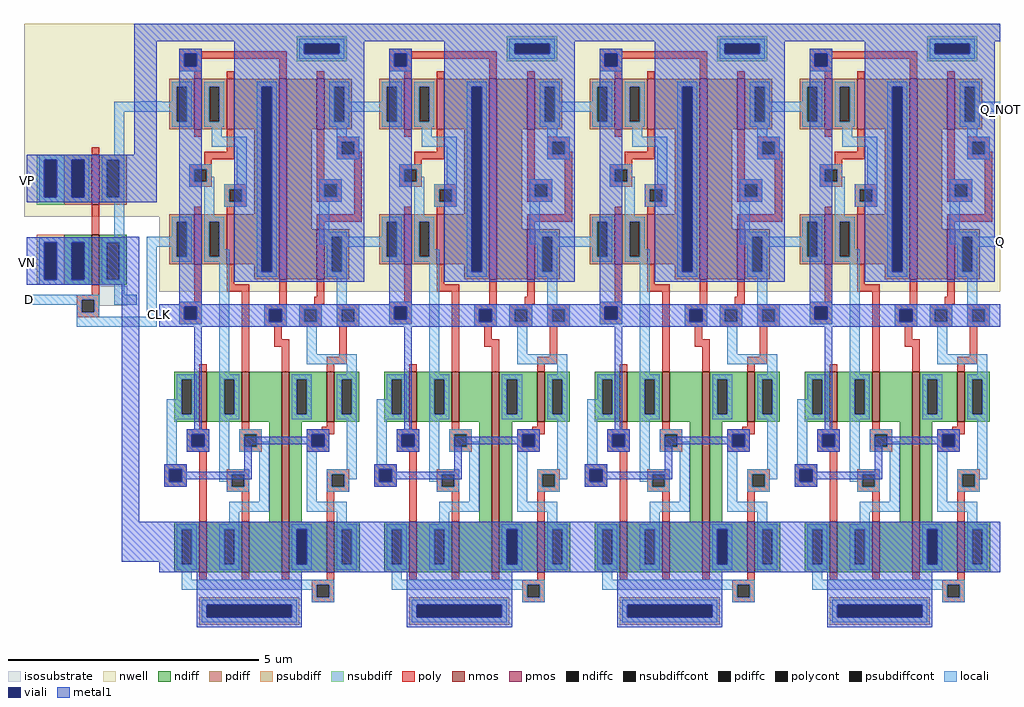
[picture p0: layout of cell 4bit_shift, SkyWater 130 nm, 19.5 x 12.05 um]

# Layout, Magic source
magic
tech sky130A
<< isosubstrate >>
rect -60 862 -4 902
<< nwell >>
rect -210 1040 65 1425
<< locali >>
rect 23 1270 65 1271
rect -30 1250 65 1270
rect -30 1160 -10 1250
rect 35 980 65 1000
rect -199 864 -160 884
rect 35 840 55 980
rect -105 820 55 840
<< metal1 >>
rect 10 1390 65 1425
rect 10 1164 55 1390
rect -204 1069 -195 1164
rect -16 1069 55 1164
rect -15 999 20 1000
rect -204 904 -195 999
rect -16 904 20 999
rect -15 430 20 904
rect -15 350 65 430
use inverte  inverte_0
transform 1 0 -95 0 1 869
box -110 -30 110 315
use mp2  mp2_0
transform 1 0 -635 0 1 -75
box 695 295 1115 1500
use mp2  mp2_1
transform 1 0 -215 0 1 -75
box 695 295 1115 1500
use mp2  mp2_2
transform 1 0 205 0 1 -75
box 695 295 1115 1500
use mp2  mp2_3
transform 1 0 625 0 1 -75
box 695 295 1115 1500
<< labels >>
rlabel space 60 845 60 845 7 CLK
port 10 w
rlabel metal1 -204 1112 -204 1112 1 VP
port 6 n
rlabel metal1 -204 949 -204 949 1 VN
port 5 n
rlabel locali -199 875 -199 875 3 D
port 1 e
rlabel space 1740 990 1740 990 3 Q
port 9 e
rlabel space 1740 1255 1740 1255 3 Q_NOT
port 8 e
<< end >>

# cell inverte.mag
magic
tech sky130A
<< nwell >>
rect -110 175 110 315
<< nmos >>
rect 20 35 35 135
<< pmos >>
rect 20 195 35 295
<< ndiff >>
rect -35 120 20 135
rect -35 45 -20 120
rect 5 45 20 120
rect -35 35 20 45
rect 35 120 90 135
rect 35 45 50 120
rect 75 45 90 120
rect 35 35 90 45
<< pdiff >>
rect -35 285 20 295
rect -35 210 -20 285
rect 5 210 20 285
rect -35 195 20 210
rect 35 285 90 295
rect 35 210 50 285
rect 75 210 90 285
rect 35 195 90 210
<< ndiffc >>
rect -20 45 5 120
rect 50 45 75 120
<< pdiffc >>
rect -20 210 5 285
rect 50 210 75 285
<< psubdiff >>
rect -90 120 -35 135
rect -90 45 -75 120
rect -50 45 -35 120
rect -90 35 -35 45
<< nsubdiff >>
rect -90 285 -35 295
rect -90 210 -75 285
rect -50 210 -35 285
rect -90 195 -35 210
<< psubdiffcont >>
rect -75 45 -50 120
<< nsubdiffcont >>
rect -75 210 -50 285
<< poly >>
rect 20 295 35 310
rect 20 135 35 195
rect 20 15 35 35
rect -10 5 35 15
rect -10 -20 0 5
rect 25 -20 35 5
rect -10 -30 35 -20
<< polycont >>
rect 0 -20 25 5
<< locali >>
rect -85 285 15 295
rect -85 210 -75 285
rect -50 210 -20 285
rect 5 210 15 285
rect -85 200 15 210
rect 40 285 85 295
rect 40 210 50 285
rect 75 210 85 285
rect 40 200 85 210
rect 65 130 85 200
rect -85 120 15 130
rect -85 45 -75 120
rect -50 45 -20 120
rect 5 45 15 120
rect -85 35 15 45
rect 40 120 85 130
rect 40 45 50 120
rect 75 45 85 120
rect 40 35 85 45
rect 65 15 85 35
rect -110 5 35 15
rect -110 -5 0 5
rect -10 -20 0 -5
rect 25 -20 35 5
rect 65 -5 110 15
rect -10 -30 35 -20
<< viali >>
rect -75 210 -50 285
rect -20 210 5 285
rect -75 45 -50 120
rect -20 45 5 120
<< metal1 >>
rect -110 285 110 295
rect -110 210 -75 285
rect -50 210 -20 285
rect 5 210 110 285
rect -110 200 110 210
rect -110 120 110 130
rect -110 45 -75 120
rect -50 45 -20 120
rect 5 45 110 120
rect -110 35 110 45
<< labels >>
rlabel locali 110 5 110 5 3 Y
port 2 e
rlabel locali -110 5 -110 5 7 A
port 1 w
rlabel metal1 -110 80 -110 80 7 VN
port 4 w
rlabel metal1 -110 245 -110 245 7 VP
port 3 w
<< end >>

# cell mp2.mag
magic
tech sky130A
<< nwell >>
rect 695 965 1115 1500
<< nmos >>
rect 775 705 790 805
rect 860 705 875 805
rect 775 405 790 505
rect 860 405 875 505
rect 940 405 955 805
rect 1030 705 1045 805
rect 1030 405 1045 505
<< pmos >>
rect 765 1290 780 1390
rect 830 1290 845 1390
rect 765 1020 780 1120
rect 830 1020 845 1120
rect 935 990 950 1390
rect 1010 1290 1025 1390
rect 1010 990 1025 1090
<< ndiff >>
rect 725 790 775 805
rect 725 720 740 790
rect 760 720 775 790
rect 725 705 775 720
rect 790 790 860 805
rect 790 720 825 790
rect 845 720 860 790
rect 790 705 860 720
rect 875 705 940 805
rect 915 505 940 705
rect 725 490 775 505
rect 725 420 740 490
rect 760 420 775 490
rect 725 405 775 420
rect 790 490 860 505
rect 790 420 825 490
rect 845 420 860 490
rect 790 405 860 420
rect 875 405 940 505
rect 955 790 1030 805
rect 955 720 970 790
rect 990 720 1030 790
rect 955 705 1030 720
rect 1045 790 1095 805
rect 1045 720 1060 790
rect 1080 720 1095 790
rect 1045 705 1095 720
rect 955 505 980 705
rect 955 490 1030 505
rect 955 420 970 490
rect 990 420 1030 490
rect 955 405 1030 420
rect 1045 490 1096 505
rect 1045 420 1060 490
rect 1080 420 1096 490
rect 1045 405 1096 420
<< pdiff >>
rect 715 1375 765 1390
rect 715 1305 730 1375
rect 750 1305 765 1375
rect 715 1290 765 1305
rect 780 1375 830 1390
rect 780 1305 795 1375
rect 815 1305 830 1375
rect 780 1290 830 1305
rect 845 1375 935 1390
rect 845 1290 900 1375
rect 885 1120 900 1290
rect 715 1105 765 1120
rect 715 1035 730 1105
rect 750 1035 765 1105
rect 715 1020 765 1035
rect 780 1105 830 1120
rect 780 1035 795 1105
rect 815 1035 830 1105
rect 780 1020 830 1035
rect 845 1020 900 1120
rect 885 1005 900 1020
rect 920 1005 935 1375
rect 885 990 935 1005
rect 950 1290 1010 1390
rect 1025 1375 1080 1390
rect 1025 1305 1045 1375
rect 1065 1305 1080 1375
rect 1025 1290 1080 1305
rect 950 1090 1000 1290
rect 950 990 1010 1090
rect 1025 1075 1075 1090
rect 1025 1005 1040 1075
rect 1060 1005 1075 1075
rect 1025 990 1075 1005
<< ndiffc >>
rect 740 720 760 790
rect 825 720 845 790
rect 740 420 760 490
rect 825 420 845 490
rect 970 720 990 790
rect 1060 720 1080 790
rect 970 420 990 490
rect 1060 420 1080 490
<< pdiffc >>
rect 730 1305 750 1375
rect 795 1305 815 1375
rect 730 1035 750 1105
rect 795 1035 815 1105
rect 900 1005 920 1375
rect 1045 1305 1065 1375
rect 1040 1005 1060 1075
<< psubdiff >>
rect 775 340 975 355
rect 775 315 790 340
rect 960 315 975 340
rect 775 300 975 315
<< nsubdiff >>
rect 970 1460 1070 1475
rect 970 1440 985 1460
rect 1055 1440 1070 1460
rect 970 1425 1070 1440
<< psubdiffcont >>
rect 790 315 960 340
<< nsubdiffcont >>
rect 985 1440 1055 1460
<< poly >>
rect 735 1445 780 1450
rect 735 1440 950 1445
rect 735 1415 745 1440
rect 770 1430 950 1440
rect 770 1415 780 1430
rect 735 1405 780 1415
rect 765 1390 780 1405
rect 830 1390 845 1405
rect 935 1390 950 1430
rect 1010 1390 1025 1405
rect 765 1275 780 1290
rect 830 1245 845 1290
rect 785 1230 845 1245
rect 785 1220 800 1230
rect 755 1210 800 1220
rect 755 1185 765 1210
rect 790 1185 800 1210
rect 755 1175 800 1185
rect 825 1170 870 1180
rect 825 1145 835 1170
rect 860 1145 870 1170
rect 825 1135 870 1145
rect 765 1120 780 1135
rect 830 1120 845 1135
rect 765 945 780 1020
rect 830 980 845 1020
rect 1010 1190 1025 1290
rect 1050 1265 1095 1275
rect 1050 1240 1060 1265
rect 1085 1245 1095 1265
rect 1085 1240 1100 1245
rect 1050 1230 1100 1240
rect 1010 1180 1060 1190
rect 1010 1155 1025 1180
rect 1050 1155 1060 1180
rect 1010 1145 1060 1155
rect 1085 1120 1100 1230
rect 1010 1105 1100 1120
rect 1010 1090 1025 1105
rect 830 965 875 980
rect 735 935 780 945
rect 735 910 745 935
rect 770 910 780 935
rect 735 900 780 910
rect 775 805 790 820
rect 860 805 875 965
rect 935 940 950 990
rect 1010 955 1025 990
rect 1005 940 1025 955
rect 905 930 950 940
rect 905 905 915 930
rect 940 905 950 930
rect 905 895 950 905
rect 975 930 1020 940
rect 975 905 985 930
rect 1010 905 1020 930
rect 975 895 1020 905
rect 1050 930 1095 940
rect 1050 905 1060 930
rect 1085 905 1095 930
rect 1050 895 1095 905
rect 925 870 940 895
rect 925 855 955 870
rect 940 805 955 855
rect 1055 835 1070 895
rect 1030 820 1070 835
rect 1030 805 1045 820
rect 775 690 790 705
rect 860 690 875 705
rect 750 680 795 690
rect 750 655 760 680
rect 785 655 795 680
rect 750 645 795 655
rect 855 680 900 690
rect 855 655 865 680
rect 890 655 900 680
rect 855 645 900 655
rect 705 610 750 620
rect 705 585 715 610
rect 740 585 750 610
rect 705 575 750 585
rect 775 505 790 645
rect 830 600 875 610
rect 830 575 840 600
rect 865 575 875 600
rect 830 565 875 575
rect 860 505 875 565
rect 1030 695 1045 705
rect 1020 690 1045 695
rect 990 680 1045 690
rect 990 655 1000 680
rect 1025 655 1035 680
rect 990 645 1035 655
rect 1030 600 1075 610
rect 1030 575 1040 600
rect 1065 575 1075 600
rect 1030 565 1075 575
rect 1030 505 1045 565
rect 775 390 790 405
rect 860 390 875 405
rect 940 390 955 405
rect 1030 390 1045 405
rect 1000 380 1045 390
rect 1000 355 1010 380
rect 1035 355 1045 380
rect 1000 345 1045 355
<< polycont >>
rect 745 1415 770 1440
rect 765 1185 790 1210
rect 835 1145 860 1170
rect 1060 1240 1085 1265
rect 1025 1155 1050 1180
rect 745 910 770 935
rect 915 905 940 930
rect 985 905 1010 930
rect 1060 905 1085 930
rect 760 655 785 680
rect 865 655 890 680
rect 715 585 740 610
rect 840 575 865 600
rect 1000 655 1025 680
rect 1040 575 1065 600
rect 1010 355 1035 380
<< locali >>
rect 975 1460 1065 1470
rect 735 1440 780 1450
rect 735 1415 745 1440
rect 770 1415 780 1440
rect 975 1440 985 1460
rect 1055 1440 1065 1460
rect 975 1430 1065 1440
rect 735 1405 780 1415
rect 720 1375 760 1385
rect 720 1345 730 1375
rect 695 1325 730 1345
rect 720 1305 730 1325
rect 750 1305 760 1375
rect 720 1295 760 1305
rect 785 1375 825 1385
rect 785 1305 795 1375
rect 815 1305 825 1375
rect 785 1295 825 1305
rect 890 1375 930 1385
rect 800 1275 820 1295
rect 800 1255 870 1275
rect 755 1210 800 1220
rect 755 1185 765 1210
rect 790 1195 800 1210
rect 790 1185 805 1195
rect 755 1175 805 1185
rect 850 1180 870 1255
rect 785 1115 805 1175
rect 825 1170 870 1180
rect 825 1145 835 1170
rect 860 1145 870 1170
rect 825 1135 870 1145
rect 720 1105 760 1115
rect 720 1075 730 1105
rect 695 1055 730 1075
rect 720 1035 730 1055
rect 750 1035 760 1105
rect 720 1025 760 1035
rect 785 1105 825 1115
rect 785 1035 795 1105
rect 815 1050 825 1105
rect 815 1035 835 1050
rect 785 1025 835 1035
rect 735 935 780 945
rect 735 910 745 935
rect 770 910 780 935
rect 735 900 780 910
rect 815 800 835 1025
rect 890 1005 900 1375
rect 920 1005 930 1375
rect 1035 1375 1075 1385
rect 1035 1305 1045 1375
rect 1065 1345 1075 1375
rect 1065 1325 1115 1345
rect 1065 1305 1075 1325
rect 1035 1295 1075 1305
rect 1050 1275 1070 1295
rect 1050 1265 1095 1275
rect 1050 1240 1060 1265
rect 1085 1240 1095 1265
rect 1050 1230 1095 1240
rect 1015 1180 1060 1190
rect 1015 1155 1025 1180
rect 1050 1155 1060 1180
rect 1015 1145 1060 1155
rect 1015 1085 1035 1145
rect 1015 1075 1070 1085
rect 1015 1060 1040 1075
rect 890 995 930 1005
rect 1030 1005 1040 1060
rect 1060 1055 1115 1075
rect 1060 1005 1070 1055
rect 1030 995 1070 1005
rect 1050 940 1070 995
rect 905 930 950 940
rect 905 905 915 930
rect 940 905 950 930
rect 905 895 950 905
rect 975 930 1020 940
rect 975 905 985 930
rect 1010 905 1020 930
rect 975 895 1020 905
rect 1050 930 1095 940
rect 1050 905 1060 930
rect 1085 905 1095 930
rect 1050 895 1095 905
rect 990 840 1010 895
rect 990 820 1090 840
rect 1070 800 1090 820
rect 730 790 770 800
rect 730 750 740 790
rect 710 720 740 750
rect 760 720 770 790
rect 710 710 770 720
rect 815 790 855 800
rect 815 720 825 790
rect 845 720 855 790
rect 815 710 855 720
rect 960 790 1000 800
rect 960 720 970 790
rect 990 720 1000 790
rect 960 710 1000 720
rect 1050 790 1090 800
rect 1050 720 1060 790
rect 1080 720 1090 790
rect 1050 710 1090 720
rect 710 620 730 710
rect 750 680 795 690
rect 750 655 760 680
rect 785 655 795 680
rect 750 645 795 655
rect 705 610 750 620
rect 705 585 715 610
rect 740 585 750 610
rect 815 610 835 710
rect 855 680 900 690
rect 855 655 865 680
rect 890 665 900 680
rect 990 680 1035 690
rect 890 655 915 665
rect 855 645 915 655
rect 815 600 875 610
rect 815 585 840 600
rect 705 575 750 585
rect 830 575 840 585
rect 865 575 875 600
rect 830 565 875 575
rect 895 545 915 645
rect 835 525 915 545
rect 990 655 1000 680
rect 1025 655 1035 680
rect 990 645 1035 655
rect 990 545 1010 645
rect 1070 610 1090 710
rect 1030 600 1090 610
rect 1030 575 1040 600
rect 1065 590 1090 600
rect 1065 575 1075 590
rect 1030 565 1075 575
rect 990 525 1070 545
rect 835 500 855 525
rect 1050 500 1070 525
rect 730 490 770 500
rect 730 420 740 490
rect 760 420 770 490
rect 730 410 770 420
rect 815 490 855 500
rect 815 420 825 490
rect 845 420 855 490
rect 815 410 855 420
rect 960 490 1000 500
rect 960 420 970 490
rect 990 420 1000 490
rect 960 410 1000 420
rect 1050 490 1090 500
rect 1050 420 1060 490
rect 1080 420 1090 490
rect 1050 410 1090 420
rect 740 390 760 410
rect 740 380 1045 390
rect 740 370 1010 380
rect 1000 355 1010 370
rect 1035 355 1045 380
rect 780 340 970 350
rect 1000 345 1045 355
rect 780 315 790 340
rect 960 315 970 340
rect 780 305 970 315
<< viali >>
rect 745 1415 770 1440
rect 985 1440 1055 1460
rect 745 910 770 935
rect 900 1005 920 1375
rect 915 905 940 930
rect 760 655 785 680
rect 715 585 740 610
rect 1000 655 1025 680
rect 970 420 990 490
rect 790 315 960 340
<< metal1 >>
rect 695 1465 1115 1500
rect 845 1460 1105 1465
rect 735 1440 780 1450
rect 735 1415 745 1440
rect 770 1415 780 1440
rect 735 940 780 1415
rect 845 1440 985 1460
rect 1055 1440 1105 1460
rect 845 1375 1105 1440
rect 845 1005 900 1375
rect 920 1005 1105 1375
rect 845 985 1105 1005
rect 695 935 1115 940
rect 695 910 745 935
rect 770 930 1115 935
rect 770 910 915 930
rect 695 905 915 910
rect 940 905 1115 930
rect 695 895 1115 905
rect 765 690 780 895
rect 750 680 795 690
rect 750 655 760 680
rect 785 655 795 680
rect 990 680 1035 690
rect 990 675 1000 680
rect 750 645 795 655
rect 865 660 1000 675
rect 705 610 750 620
rect 705 585 715 610
rect 740 605 750 610
rect 865 605 880 660
rect 990 655 1000 660
rect 1025 655 1035 680
rect 990 645 1035 655
rect 740 590 880 605
rect 740 585 750 590
rect 705 575 750 585
rect 695 490 1115 505
rect 695 420 970 490
rect 990 420 1115 490
rect 695 405 1115 420
rect 770 340 980 405
rect 770 315 790 340
rect 960 315 980 340
rect 770 295 980 315
<< labels >>
rlabel locali 1115 1335 1115 1335 3 Q_NOT
rlabel locali 1115 1065 1115 1065 3 Q
rlabel locali 695 1065 695 1065 7 D
rlabel locali 695 1335 695 1335 7 D_NOT
rlabel metal1 695 1485 695 1485 7 VP
rlabel metal1 695 920 695 920 7 CLK
rlabel metal1 695 430 695 430 7 VN
<< end >>
